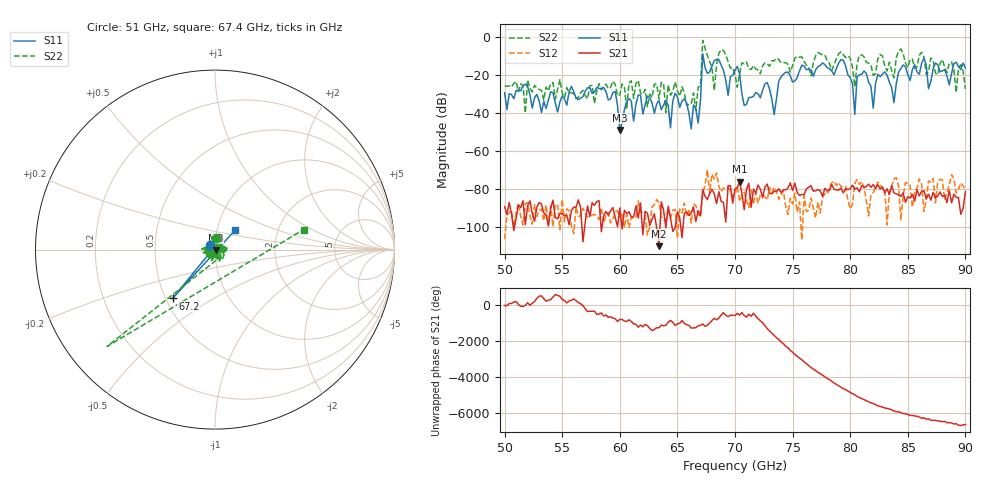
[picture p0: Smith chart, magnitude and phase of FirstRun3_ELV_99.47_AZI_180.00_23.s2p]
! 11/24/2026 3:37:13 PM
! C:\ANRITSUVNA\TEMP\TEMP.S2P
! CHANNEL.1
! TR.MEASUREMENT
! RAW.DATA
# HZ S RI R 50.0
! FREQ.HZ  S11RE  S11IM  S21RE  S21IM  S12RE  S12IM  S22RE  S22IM
!; PortSelection: Port_12
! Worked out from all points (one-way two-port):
!   201 points, 50 GHz to 90 GHz, reference 50 ohm
!   highest |S21| = -76.07 dB at 70.4 GHz (marker M1); lowest = -110.0 dB at 63.4 GHz (marker M2)
!   lowest |S11| = -48.9 dB at 60 GHz (marker M3), VSWR 1.01, Z = 50.3 - j0.153 ohm
!   |S11| at or under -10 dB: start of sweep to 67.19 GHz; 67.23 GHz to end of sweep
!   |S22| runs from -40.0 to -1.9 dB; largest |S21 - S12| = 0.00036
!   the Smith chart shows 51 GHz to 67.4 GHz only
!   S11 on the Smith chart (normalised r, x): 51 GHz: 0.94, +0.05; 67.2 GHz: 0.54, -0.34; 67.4 GHz: 1.22, +0.27
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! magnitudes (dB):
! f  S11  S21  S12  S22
! 50 GHz  -29.4  -89.2  -106.3  -25.6
! 51 GHz  -28.1  -95.3  -92.4  -23.4
! 51.8 GHz  -24.8  -98.7  -87.6  -40.0
! 56.8 GHz  -31.4  -107.7  -90.0  -28.1
! 59.6 GHz  -28.8  -94.9  -91.8  -25.0
! 60 GHz  -48.9  -89.9  -95.0  -30.5
! 63.4 GHz  -33.4  -110.0  -87.1  -32.6
! 66.8 GHz  -45.3  -91.3  -93.3  -26.5
! 67.2 GHz  -8.9  -80.3  -82.5  -1.9
! 67.4 GHz  -16.1  -83.8  -77.8  -5.9
! 68.2 GHz  -12.5  -82.5  -74.8  -28.0
! 68.8 GHz  -14.8  -86.5  -81.5  -6.7
! 70 GHz  -17.4  -79.9  -82.7  -19.9
! 70.4 GHz  -19.4  -76.1  -86.5  -19.3
! 73.4 GHz  -40.8  -81.1  -79.0  -12.6
! 74.2 GHz  -19.7  -80.4  -80.9  -13.5
! 76.8 GHz  -20.7  -81.1  -90.0  -13.6
! 79.4 GHz  -12.2  -82.0  -78.6  -9.4
! 80.4 GHz  -40.7  -79.9  -77.0  -26.2
! 80.6 GHz  -21.0  -79.4  -75.0  -14.0
! 83.4 GHz  -23.7  -82.9  -81.2  -13.3
! 90 GHz  -16.3  -81.3  -80.8  -27.3
